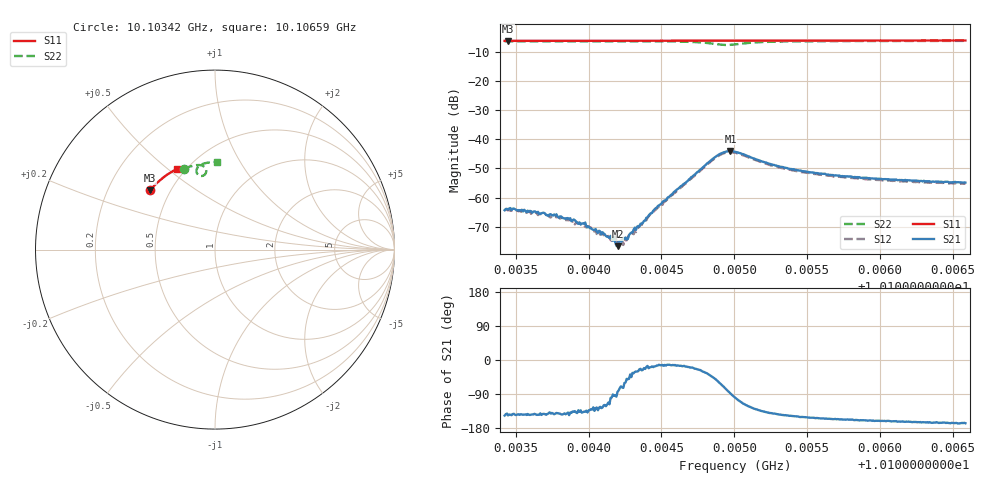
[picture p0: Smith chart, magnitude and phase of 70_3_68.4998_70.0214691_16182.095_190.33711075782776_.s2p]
#  HZ  S  RI  R  50.00
! Rohde & Schwarz Vector Network Analyzer
! Rohde-Schwarz,ZNB20-2Port,1311601062101988,3.16
! Created: UTC 3/20/2024, 4:51:43 PM
! freq[Hz]  re:S11  im:S11  re:S21  im:S21  re:S12  im:S12  re:S22  im:S22
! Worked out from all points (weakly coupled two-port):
!   401 points, 10.10342 GHz to 10.10659 GHz, reference 50 ohm
!   highest |S21| = -44.04 dB at 10.10497 GHz (marker M1); lowest = -76.7 dB at 10.1042 GHz (marker M2)
!   lowest |S11| = -6.2 dB at 10.10345 GHz (marker M3), VSWR 2.92, Z = 19.4 + j16.9 ohm
!   |S11| at or under -10 dB: nowhere
!   |S22| runs from -7.6 to -6.2 dB; largest |S21 - S12| = 0.00064
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1.0103423e10  -0.3619 0.3299  -0.000508 -0.000334  -0.000446 -0.000405  -0.1722 0.4502
1.0103447e10  -0.3609 0.3309  -0.000521 -0.000348  -0.000463 -0.000388  -0.1707 0.4507
1.0103629e10  -0.3536 0.3393  -0.000457 -0.000357  -0.000421 -0.000364  -0.1591 0.4556
1.0103763e10  -0.3482 0.3454  -0.00041 -0.000307  -0.000356 -0.000304  -0.1503 0.4588
1.0103882e10  -0.3432 0.3509  -0.000299 -0.000256  -0.000306 -0.000275  -0.1422 0.4614
1.0103953e10  -0.3404 0.3541  -0.00027 -0.000234  -0.000225 -0.000249  -0.1373 0.4632
1.0104008e10  -0.3381 0.3564  -0.000201 -0.000223  -0.000173 -0.000258  -0.1335 0.4643
1.0104072e10  -0.3352 0.3592  -0.000158 -0.000219  -0.000124 -0.000218  -0.1288 0.4657
1.0104103e10  -0.3339 0.3607  -0.000119 -0.000211  -7.85e-05 -0.000212  -0.1263 0.4663
1.0104159e10  -0.3315 0.363  -3.08e-05 -0.000195  -2.65e-05 -0.000179  -0.1223 0.4672
1.0104182e10  -0.3305 0.364  -8.43e-06 -0.000171  1.12e-05 -0.000214  -0.1205 0.4676
1.0104198e10  -0.3298 0.3646  1.44e-05 -0.000146  2.68e-05 -0.000166  -0.1192 0.468
1.0104254e10  -0.3275 0.367  0.000106 -0.000177  0.000121 -0.00014  -0.1147 0.4688
1.0104483e10  -0.3173 0.3767  0.000717 -0.00016  0.000698 -0.000102  -0.0941 0.4713
1.0104863e10  -0.2998 0.3915  0.00324 -0.0036  0.00339 -0.00317  -0.0493 0.4328
1.0104918e10  -0.2973 0.3936  0.00227 -0.00541  0.00266 -0.00497  -0.0601 0.4151
1.0104973e10  -0.2948 0.3956  0.000206 -0.00628  0.000766 -0.00598  -0.082 0.4107
1.0105005e10  -0.2933 0.3968  -0.000965 -0.00603  -0.000394 -0.00587  -0.0929 0.416
1.010529e10  -0.2799 0.4076  -0.0028 -0.00215  -0.00249 -0.00227  -0.0874 0.4669
1.0105535e10  -0.2679 0.4166  -0.00239 -0.00125  -0.00217 -0.0014  -0.0652 0.478
1.0106065e10  -0.2409 0.4341  -0.00194 -0.000666  -0.00181 -0.000821  -0.0253 0.4864
1.0106587e10  -0.2135 0.4497  -0.00176 -0.000413  -0.00165 -0.00055  0.0106 0.4892
